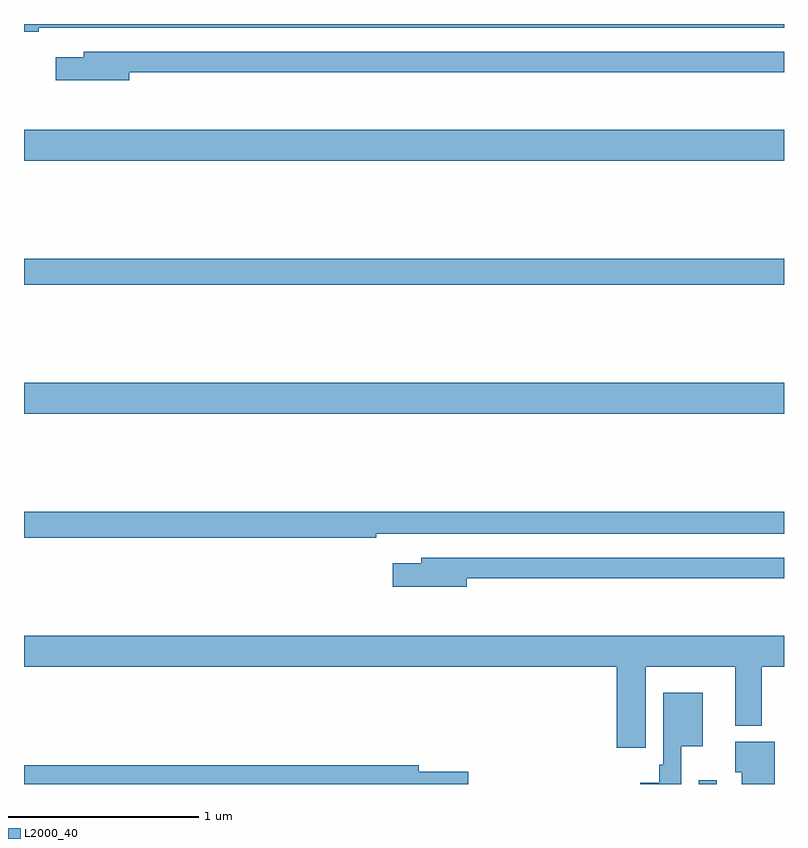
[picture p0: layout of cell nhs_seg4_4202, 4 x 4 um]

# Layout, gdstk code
import gdstk
lib = gdstk.Library(unit=1e-6, precision=1e-09)
def R(c, l, rs):  # rectangles x0, y0, x1, y1
    for r in rs: c.add(gdstk.rectangle(r[:2], r[2:], *l))
def P(c, l, *ps):  # polygons
    for p in ps: c.add(gdstk.Polygon(p, *l))
L2000_40 = (2000, 40)

nhs_seg4_4202 = lib.new_cell('nhs_seg4_4202')
R(nhs_seg4_4202, L2000_40, [(338.55,766.9,338.645,766.921), (335,768.848,339,769.012), (335,769.528,339,769.664), (335,770.18,339,770.344)])
P(nhs_seg4_4202, L2000_40, [(335.078,770.88),(339,770.88),(339,770.9),(335,770.9),(335,770.86),(335.078,770.86)],
  [(335.554,770.646),(339,770.646),(339,770.754),(335.315,770.754),(335.315,770.725),(335.166,770.725),(335.166,770.603),(335.554,770.603)],
  [(336.854,768.216),(339,768.216),(339,768.332),(335,768.332),(335,768.196),(336.854,768.196)],
  [(337.33,767.982),(339,767.982),(339,768.09),(337.091,768.09),(337.091,768.061),(336.942,768.061),(336.942,767.939),(337.33,767.939)],
  [(338.272,767.516),(338.744,767.516),(338.744,767.207),(338.884,767.207),(338.884,767.516),(339,767.516),(339,767.68),(335,767.68),(335,767.516),(338.12,767.516),(338.12,767.091),(338.272,767.091)],
  [(338.46,767.099),(338.572,767.099),(338.572,767.38),(338.364,767.38),(338.364,767.002),(338.344,767.002),(338.344,766.906),(338.243,766.906),(338.243,766.9),(338.46,766.9)],
  [(338.95,767.122),(338.744,767.122),(338.744,766.961),(338.777,766.961),(338.777,766.9),(338.95,766.9)],
  [(337.339,766.964),(337.078,766.964),(337.078,767),(335,767),(335,766.9),(337.339,766.9)])

lib.write_gds('nhs_seg4_4202.gds')
